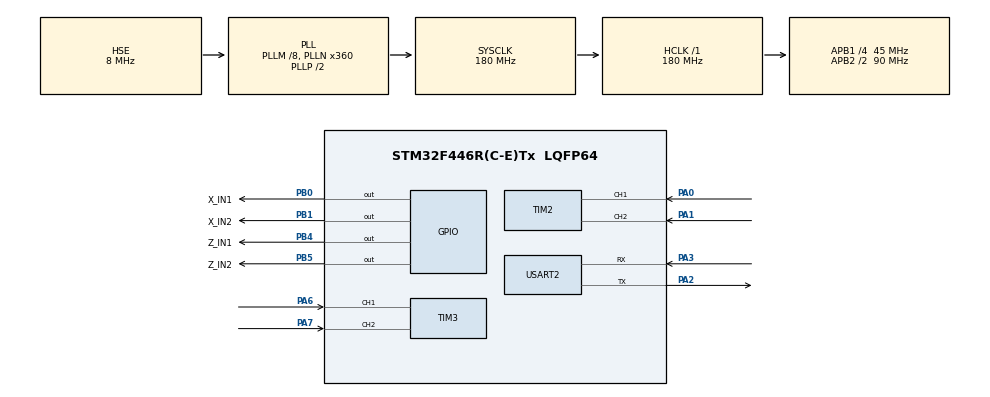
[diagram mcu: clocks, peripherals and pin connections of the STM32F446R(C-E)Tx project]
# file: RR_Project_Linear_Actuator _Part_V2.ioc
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Mcu.Family=STM32F4
Mcu.Name=STM32F446R(C-E)Tx
Mcu.Package=LQFP64
NVIC.PriorityGroup=NVIC_PRIORITYGROUP_4
NVIC.TIM6_DAC_IRQn=true\:1\:0\:true\:false\:true\:true\:true\:true
NVIC.USART2_IRQn=true\:2\:0\:true\:false\:true\:true\:true\:true
PA0-WKUP.Signal=S_TIM2_CH1_ETR
PA1.Signal=S_TIM2_CH2
PA13.Mode=Serial_Wire
PA13.Signal=SYS_JTMS-SWDIO
PA14.Mode=Serial_Wire
PA14.Signal=SYS_JTCK-SWCLK
PA2.Mode=Asynchronous
PA2.Signal=USART2_TX
PA3.Mode=Asynchronous
PA3.Signal=USART2_RX
PA6.Signal=S_TIM3_CH1
PA7.Signal=S_TIM3_CH2
PB0.GPIO_Label=X_IN1
PB0.Signal=GPIO_Output
PB1.GPIO_Label=X_IN2
PB1.Signal=GPIO_Output
PB4.GPIO_Label=Z_IN1
PB4.Signal=GPIO_Output
PB5.GPIO_Label=Z_IN2
PB5.Signal=GPIO_Output
PH0-OSC_IN.Mode=HSE-External-Oscillator
PH0-OSC_IN.Signal=RCC_OSC_IN
PH1-OSC_OUT.Mode=HSE-External-Oscillator
PH1-OSC_OUT.Signal=RCC_OSC_OUT
ProjectManager.HeapSize=0x200
ProjectManager.StackSize=0x400
ProjectManager.TargetToolchain=STM32CubeIDE
RCC.AHBFreq_Value=180000000
RCC.APB1CLKDivider=RCC_HCLK_DIV4
RCC.APB1Freq_Value=45000000
RCC.APB1TimFreq_Value=90000000
RCC.APB2CLKDivider=RCC_HCLK_DIV2
RCC.APB2Freq_Value=90000000
RCC.APB2TimFreq_Value=180000000
RCC.CortexFreq_Value=180000000
RCC.HCLKFreq_Value=180000000
RCC.HSE_VALUE=8000000
RCC.PLLM=8
RCC.PLLN=360
RCC.PLLSourceVirtual=RCC_PLLSOURCE_HSE
RCC.SYSCLKFreq_VALUE=180000000
RCC.SYSCLKSource=RCC_SYSCLKSOURCE_PLLCLK
RCC.USBFreq_Value=180000000
RCC.VCOOutputFreq_Value=360000000
SH.S_TIM2_CH1_ETR.0=TIM2_CH1,Encoder_Interface
SH.S_TIM2_CH2.0=TIM2_CH2,Encoder_Interface
SH.S_TIM3_CH1.0=TIM3_CH1,Encoder_Interface
SH.S_TIM3_CH2.0=TIM3_CH2,Encoder_Interface
TIM2.EncoderMode=TIM_ENCODERMODE_TI12
TIM2.IC1Filter=10
TIM2.IC2Filter=10
TIM3.EncoderMode=TIM_ENCODERMODE_TI12
TIM3.IC1Filter=10
TIM3.IC2Filter=10
TIM6.Period=9
TIM6.Prescaler=8999
USART2.VirtualMode=VM_ASYNC
VP_TIM6_VS_ClockSourceINT.Mode=Enable_Timer
board=custom

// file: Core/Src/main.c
/* USER CODE BEGIN Header */
/**
  ******************************************************************************
  * @file           : main.c
  * @brief          : Main program body
  ******************************************************************************
  * @attention
  *
  * Copyright (c) 2026 STMicroelectronics.
  * All rights reserved.
  *
  * This software is licensed under terms that can be found in the LICENSE file
  * in the root directory of this software component.
  * If no LICENSE file comes with this software, it is provided AS-IS.
  *
  ******************************************************************************
  */
/* USER CODE END Header */
#include "main.h"

/* USER CODE BEGIN Includes */
#include <stdio.h>
#include <stdlib.h>
#include <string.h>
#include <ctype.h>
/* USER CODE END Includes */

/* USER CODE BEGIN PTD */
typedef enum { AX_IDLE = 0, AX_HOMING, AX_MOVING, AX_SETTLE } ax_state_t;   /* order is used to index "IHMS" */
typedef enum { EV_NONE = 0, EV_DONE, EV_HOMED, EV_STALL, EV_FAULT } ax_evt_t;

typedef struct
{
  char name;                                   /* 'X' or 'Z' */
  void (*fwd)(void);                           /* ahead */
  void (*rev)(void);                           /* back toward zero */
  void (*stop)(void);
  void (*zero)(void);                          /* make the current position = 0 */
  float   counts_per_mm;
  int32_t brake_init_fwd, brake_init_rev;
  volatile int32_t brake_fwd, brake_rev;       /* adaptive, per direction */
  volatile ax_state_t state;
  volatile uint8_t flag;                       /* 0 ok, 1 overshoot warning, 2 fault */
  volatile uint8_t req_move, req_home;
  volatile int32_t req_target;                 /* counts, absolute */
  volatile int32_t pos;                        /* counts, + = ahead, 0 = home */
  int32_t target, start, stop_at, travel, last;
  int8_t  dir;
  uint8_t ran, learn, zero_valid;
  uint16_t still;
  uint32_t t_ms;
  volatile ax_evt_t evt;
  volatile uint8_t  warn_evt;
  volatile int32_t  ev_target, ev_final, ev_err, ev_brake, ev_over;
  const char * volatile ev_text;
} axis_t;
/* USER CODE END PTD */

/* USER CODE BEGIN PD */
/* ---- X axis (horizontal): TIM2 PA0/PA1, L298N IN1/IN2 on PB0/PB1 ---- */
#define X_COUNTS_PER_MM   827.5f
#define X_BRAKE_FWD       252L
#define X_BRAKE_REV       257L
#define X_MAX_MM          100.0f            /* set to the real travel (GUI has the same limit) */

/* ---- Z axis (vertical): TIM3 PA6/PA7, L298N IN3/IN4 on PB4/PB5 ---- */
#define Z_COUNTS_PER_MM   734.5f
#define Z_BRAKE_FWD       770L
#define Z_BRAKE_REV       (-25L)
#define Z_EXT_MM          6.0f              /* "Z1" position, put the real stroke here */

/* ---- common ---- */
#define STILL_TOL         2
#define STILL_MS          500               /* no counts this long while moving/homing = stalled */
#define SETTLE_MS         300
#define WRONGDIR_COUNTS   400L
#define OVERRUN_COUNTS    1600L
#define STALL_OK_COUNTS   100L              /* blocked this close to the target = arrived (end stop) */
#define HOME_TIMEOUT_MS   60000UL
#define OVER_LIMIT_MM     0.5f              /* overshoot beyond this -> WARN, please home */
#define LEARN_ENABLE      1
#define LEARN_DIV         2                 /* learn 1/2 of the measured overshoot each move */
#define BRAKE_TRIM        200L              /* learned brake stays within init +/- this */
#define PC_HB_TIMEOUT_MS  1000UL
#define STM_HB_PERIOD_MS  500
#define CMDQ_N            4
/* USER CODE END PD */

TIM_HandleTypeDef htim2;
TIM_HandleTypeDef htim3;
TIM_HandleTypeDef htim6;

UART_HandleTypeDef huart2;

/* USER CODE BEGIN PV */
static axis_t   x_ax, z_ax;
static uint16_t z_last_cnt;                        /* TIM3 is 16 bit, integrated into z_ax.pos */

static uint8_t  rx_byte, rx_len;
static char     rx_buf[32];
static char     cmd_q[CMDQ_N][32];
static volatile uint8_t  q_head, q_tail;

static volatile uint8_t  stop_req, hb_flag, hb_lost, hb_loss_evt, pc_armed;
static volatile uint16_t hb_ms;
static volatile uint32_t pc_age_ms;
static uint32_t hb_seq;
/* USER CODE END PV */

void SystemClock_Config(void);
static void MX_GPIO_Init(void);
static void MX_TIM2_Init(void);
static void MX_TIM3_Init(void);
static void MX_TIM6_Init(void);
static void MX_USART2_UART_Init(void);

/* USER CODE BEGIN 0 */
static inline int32_t iabs32(int32_t v) { return v < 0 ? -v : v; }
static inline int32_t clampi(int32_t v, int32_t lo, int32_t hi) { return v < lo ? lo : (v > hi ? hi : v); }

/* L298N: ahead = IN2 high, back = IN1 high (same as your tested code). BSRR changes both pins in one write. */
static void x_fwd(void)  { GPIOB->BSRR = X_IN2_Pin | ((uint32_t)X_IN1_Pin << 16); }
static void x_rev(void)  { GPIOB->BSRR = X_IN1_Pin | ((uint32_t)X_IN2_Pin << 16); }
static void x_stop(void) { GPIOB->BSRR = ((uint32_t)(X_IN1_Pin | X_IN2_Pin)) << 16; }
static void z_fwd(void)  { GPIOB->BSRR = Z_IN2_Pin | ((uint32_t)Z_IN1_Pin << 16); }
static void z_rev(void)  { GPIOB->BSRR = Z_IN1_Pin | ((uint32_t)Z_IN2_Pin << 16); }
static void z_stop(void) { GPIOB->BSRR = ((uint32_t)(Z_IN1_Pin | Z_IN2_Pin)) << 16; }

static void x_zero(void) { __HAL_TIM_SET_COUNTER(&htim2, 0); x_ax.pos = 0; }
static void z_zero(void) { __HAL_TIM_SET_COUNTER(&htim3, 0); z_last_cnt = 0; z_ax.pos = 0; }

static void axes_init(void)
{
  x_ax.name = 'X'; x_ax.fwd = x_fwd; x_ax.rev = x_rev; x_ax.stop = x_stop; x_ax.zero = x_zero;
  x_ax.counts_per_mm = X_COUNTS_PER_MM;
  x_ax.brake_init_fwd = x_ax.brake_fwd = X_BRAKE_FWD;
  x_ax.brake_init_rev = x_ax.brake_rev = X_BRAKE_REV;

  z_ax.name = 'Z'; z_ax.fwd = z_fwd; z_ax.rev = z_rev; z_ax.stop = z_stop; z_ax.zero = z_zero;
  z_ax.counts_per_mm = Z_COUNTS_PER_MM;
  z_ax.brake_init_fwd = z_ax.brake_fwd = Z_BRAKE_FWD;
  z_ax.brake_init_rev = z_ax.brake_rev = Z_BRAKE_REV;
}

/* position readers (called every 1 ms): both axes inverted like ENC_INVERT = 1 in the tested code */
static void x_read(void) { x_ax.pos = -(int32_t)__HAL_TIM_GET_COUNTER(&htim2); }
static void z_read(void)
{
  uint16_t c = (uint16_t)__HAL_TIM_GET_COUNTER(&htim3);
  z_ax.pos -= (int16_t)(c - z_last_cnt);          /* signed 16-bit difference is correct across wrap */
  z_last_cnt = c;
}

static long cnt2um(int32_t c, float cpm)
{
  float v = (float)c * 1000.0f / cpm;
  return (long)(v >= 0 ? v + 0.5f : v - 0.5f);
}

static void uart_puts(const char *s) { HAL_UART_Transmit(&huart2, (uint8_t *)s, (uint16_t)strlen(s), 100); }

/* ---------------- axis motion (1 kHz, called from the TIM6 interrupt) ---------------- */
static void axis_abort(axis_t *a)
{
  a->stop();
  a->state = AX_IDLE;
  a->req_move = 0;
  a->req_home = 0;
}

static void axis_fault(axis_t *a, const char *why, int32_t p)
{
  a->stop();
  a->ev_final = p;
  a->ev_text = why;
  a->evt = EV_FAULT;
  a->flag = 2;
  a->state = AX_IDLE;
}

static void axis_start_home(axis_t *a, int32_t p)
{
  a->flag = 0;
  a->start = p; a->last = p; a->still = 0; a->t_ms = 0;
  a->rev();                                        /* retract until the counts stop */
  a->state = AX_HOMING;
}

static void axis_start_move(axis_t *a, int32_t tgt, int32_t p)
{
  int32_t delta = tgt - p;
  a->dir = (delta >= 0) ? 1 : -1;
  a->start = p; a->target = tgt; a->travel = iabs32(delta);
  a->last = p; a->still = 0; a->flag = 0;
  a->learn = (a->travel >= (int32_t)a->counts_per_mm);            /* moves shorter than 1 mm use no brake offset */
  int32_t brake = a->learn ? ((a->dir > 0) ? a->brake_fwd : a->brake_rev) : 0;
  a->stop_at = (a->dir > 0) ? (tgt - brake) : (tgt + brake);     /* where the motor is switched off */
  a->ran = 0;
  if (a->travel == 0 || (a->dir > 0 ? (p >= a->stop_at) : (p <= a->stop_at))) { a->state = AX_SETTLE; return; }
  a->ran = 1;
  if (a->dir > 0) a->fwd(); else a->rev();
  a->state = AX_MOVING;
}

static void axis_tick(axis_t *a)
{
  int32_t p = a->pos;

  switch (a->state)
  {
    case AX_IDLE:
      if (a->req_home)      { a->req_home = 0; axis_start_home(a, p); }
      else if (a->req_move) { a->req_move = 0; axis_start_move(a, a->req_target, p); }
      break;

    case AX_HOMING:
      if (iabs32(p - a->last) <= STILL_TOL) a->still++; else { a->still = 0; a->last = p; }
      a->t_ms++;
      if ((a->start - p) < -WRONGDIR_COUNTS)  axis_fault(a, "WRONGDIR", p);
      else if (a->t_ms >= HOME_TIMEOUT_MS)    axis_fault(a, "HOMETIMEOUT", p);
      else if (a->still >= STILL_MS)
      {
        a->stop();
        a->ev_err = a->zero_valid ? p : 0;         /* how far the old zero was from the new one */
        a->zero();
        a->zero_valid = 1;
        a->flag = 0;
        a->evt = EV_HOMED;
        a->state = AX_IDLE;
      }
      break;

    case AX_MOVING:
    {
      uint8_t reached = (a->dir > 0) ? (p >= a->stop_at) : (p <= a->stop_at);
      int32_t progress = (p - a->start) * a->dir;
      if (reached)
      {
        a->stop();
        a->last = p; a->still = 0;
        a->state = AX_SETTLE;
      }
      else if (progress < -WRONGDIR_COUNTS)                axis_fault(a, "WRONGDIR", p);
      else if (progress > a->travel + OVERRUN_COUNTS)      axis_fault(a, "OVERRUN", p);
      else
      {
        if (iabs32(p - a->last) <= STILL_TOL) a->still++; else { a->still = 0; a->last = p; }
        if (a->still >= STILL_MS)                          /* not moving any more */
        {
          a->stop();
          if (iabs32(p - a->target) <= STALL_OK_COUNTS)    /* blocked at the target (end stop) = arrived */
          {
            a->learn = 0; a->last = p; a->still = 0;
            a->state = AX_SETTLE;
          }
          else
          {
            a->ev_final = p;
            a->evt = EV_STALL;
            a->flag = 2;
            a->state = AX_IDLE;
          }
        }
      }
      break;
    }

    case AX_SETTLE:
      if (iabs32(p - a->last) <= STILL_TOL) a->still++; else { a->still = 0; a->last = p; }
      if (a->still >= SETTLE_MS)
      {
        int32_t err  = p - a->target;
        int32_t over = err * a->dir;                       /* + = went past the target */
#if LEARN_ENABLE
        if (a->ran && a->learn)                            /* adaptive brake, separate for each direction */
        {
          if (a->dir > 0) a->brake_fwd = clampi(a->brake_fwd + over / LEARN_DIV,
                                                a->brake_init_fwd - BRAKE_TRIM, a->brake_init_fwd + BRAKE_TRIM);
          else            a->brake_rev = clampi(a->brake_rev + over / LEARN_DIV,
                                                a->brake_init_rev - BRAKE_TRIM, a->brake_init_rev + BRAKE_TRIM);
        }
#endif
        a->ev_target = a->target; a->ev_final = p; a->ev_err = err; a->ev_over = over;
        a->ev_brake = (a->dir > 0) ? a->brake_fwd : a->brake_rev;
        a->evt = EV_DONE;
        if (over > (int32_t)(OVER_LIMIT_MM * a->counts_per_mm)) { a->flag = 1; a->warn_evt = 1; }
        a->state = AX_IDLE;
      }
      break;

    default: a->state = AX_IDLE; break;
  }
}

/* ---------------- reporting (main loop only, never in an ISR) ---------------- */
static char st_char(const axis_t *a)
{
  if (a->state != AX_IDLE) return "IHMS"[a->state];
  return (a->flag == 2) ? 'E' : ((a->flag == 1) ? 'W' : 'I');
}

static void send_heartbeat(void)
{
  char m[64];
  snprintf(m, sizeof m, "HB,%lu,%c,%ld,%c,%ld\r\n", (unsigned long)hb_seq++,
           st_char(&x_ax), cnt2um(x_ax.pos, X_COUNTS_PER_MM),
           st_char(&z_ax), cnt2um(z_ax.pos, Z_COUNTS_PER_MM));
  uart_puts(m);
}

static void report_axis(axis_t *a)
{
  char m[96];
  float c = a->counts_per_mm;

  if (a->evt != EV_NONE)
  {
    ax_evt_t e = a->evt;
    int32_t t = a->ev_target, f = a->ev_final, er = a->ev_err, b = a->ev_brake;
    const char *why = a->ev_text;
    a->evt = EV_NONE;
    if (e == EV_DONE)
      snprintf(m, sizeof m, "DONE,%c,%ld,%ld,%ld,%ld\r\n", a->name, cnt2um(t, c), cnt2um(f, c), cnt2um(er, c), (long)b);
    else if (e == EV_HOMED)
      snprintf(m, sizeof m, "HOMED,%c,%ld\r\n", a->name, cnt2um(er, c));
    else if (e == EV_STALL)
      snprintf(m, sizeof m, "STALL,%c,%ld\r\n", a->name, cnt2um(f, c));
    else
      snprintf(m, sizeof m, "FAULT,%c,%s,%ld\r\n", a->name, why ? why : "?", cnt2um(f, c));
    uart_puts(m);
  }
  if (a->warn_evt)
  {
    a->warn_evt = 0;
    snprintf(m, sizeof m, "WARN,%c,OVERLIMIT,%ld,%ld,%ld\r\n", a->name,
             cnt2um(a->ev_final, c), cnt2um(a->ev_target, c), cnt2um(a->ev_over, c));
    uart_puts(m);
  }
}

static void report_events(void)
{
  report_axis(&x_ax);
  report_axis(&z_ax);
  if (hb_loss_evt)
  {
    char m[64];
    hb_loss_evt = 0;
    snprintf(m, sizeof m, "INFO,HBLOSS,%ld,%ld\r\n", cnt2um(x_ax.pos, X_COUNTS_PER_MM), cnt2um(z_ax.pos, Z_COUNTS_PER_MM));
    uart_puts(m);
  }
}

/* ---------------- command parser (main loop) ---------------- */
static uint8_t axis_busy(const axis_t *a) { return (a->state != AX_IDLE || a->req_move || a->req_home); }

static void handle_command(char *s)
{
  char m[48];
  for (char *c = s; *c; c++) *c = (char)toupper((unsigned char)*c);

  if (s[0] == 'P' && s[1] == 'C')                         /* PC,<seq> heartbeat from the GUI */
  {
    pc_age_ms = 0; pc_armed = 1; hb_lost = 0;
    return;
  }
  if (hb_lost && s[0] != 'S' && strcmp(s, "LOG?") != 0)   /* no PC heartbeat: refuse motion */
  {
    uart_puts("NAK,NOHB\r\n");
    return;
  }

  if (strcmp(s, "LOG?") == 0)                             /* flash log not implemented yet */
  {
    uart_puts("LOG,0,0,0\r\n");
  }
  else if (s[0] == 'S' && s[1] == 0)                      /* S = stop everything */
  {
    stop_req = 1;
    uart_puts("OK,STOP\r\n");
  }
  else if (s[0] == 'X')                                   /* X20.870 = absolute position in mm */
  {
    float mm = (float)atof(&s[1]);
    if (s[1] == 0)                          uart_puts("NAK,BAD_VALUE\r\n");
    else if (mm < 0.0f || mm > X_MAX_MM)    uart_puts("NAK,RANGE\r\n");
    else if (axis_busy(&x_ax))              uart_puts("NAK,BUSY\r\n");
    else
    {
      x_ax.req_target = (int32_t)(mm * X_COUNTS_PER_MM + 0.5f);
      x_ax.req_move = 1;
      snprintf(m, sizeof m, "OK,X,%ld\r\n", cnt2um(x_ax.req_target, X_COUNTS_PER_MM));
      uart_puts(m);
    }
  }
  else if (s[0] == 'Z')                                   /* Z1 = extended, Z0 = home position */
  {
    if (s[1] != '0' && s[1] != '1')         uart_puts("NAK,BAD_VALUE\r\n");
    else if (axis_busy(&z_ax))              uart_puts("NAK,BUSY\r\n");
    else
    {
      z_ax.req_target = (s[1] == '1') ? (int32_t)(Z_EXT_MM * Z_COUNTS_PER_MM + 0.5f) : 0;
      z_ax.req_move = 1;
      uart_puts((s[1] == '1') ? "OK,Z,1\r\n" : "OK,Z,0\r\n");
    }
  }
  else if (s[0] == 'H' && (s[1] == 'X' || s[1] == 'Z'))   /* HX / HZ = home that axis */
  {
    axis_t *a = (s[1] == 'X') ? &x_ax : &z_ax;
    if (axis_busy(a))                       uart_puts("NAK,BUSY\r\n");
    else
    {
      a->req_home = 1;
      snprintf(m, sizeof m, "OK,H%c\r\n", s[1]);
      uart_puts(m);
    }
  }
  else uart_puts("NAK,BAD_CMD\r\n");
}
/* USER CODE END 0 */

int main(void)
{

  /* MCU Configuration--------------------------------------------------------*/

  /* Reset of all peripherals, Initializes the Flash interface and the Systick. */
  HAL_Init();

  /* Configure the system clock */
  SystemClock_Config();

  /* Initialize all configured peripherals */
  MX_GPIO_Init();
  MX_TIM2_Init();
  MX_TIM3_Init();
  MX_TIM6_Init();
  MX_USART2_UART_Init();
  /* USER CODE BEGIN 2 */
  axes_init();
  x_stop(); z_stop();                                   /* motors off first */
  HAL_TIM_Encoder_Start(&htim2, TIM_CHANNEL_ALL);
  HAL_TIM_Encoder_Start(&htim3, TIM_CHANNEL_ALL);
  __HAL_TIM_SET_COUNTER(&htim2, 0);
  __HAL_TIM_SET_COUNTER(&htim3, 0);
  z_last_cnt = 0;
  HAL_UART_Receive_IT(&huart2, &rx_byte, 1);
  HAL_TIM_Base_Start_IT(&htim6);                        /* 1 kHz tick last, after all state is initialised */
  uart_puts("HELLO,STAGE,2\r\n");
  /* USER CODE END 2 */

  /* Infinite loop */
  while (1)
  {

    /* USER CODE BEGIN 3 */
	    if (hb_flag) { hb_flag = 0; send_heartbeat(); }
	    report_events();
	    if (q_tail != q_head)
	    {
	      char line[32];
	      strcpy(line, cmd_q[q_tail]);
	      q_tail = (uint8_t)((q_tail + 1) % CMDQ_N);
	      handle_command(line);
	    }
  }
  /* USER CODE END 3 */
}

void SystemClock_Config(void)
{
  RCC_OscInitTypeDef RCC_OscInitStruct = {0};
  RCC_ClkInitTypeDef RCC_ClkInitStruct = {0};

  /** Configure the main internal regulator output voltage
  */
  __HAL_RCC_PWR_CLK_ENABLE();
  __HAL_PWR_VOLTAGESCALING_CONFIG(PWR_REGULATOR_VOLTAGE_SCALE1);

  /** Initializes the RCC Oscillators according to the specified parameters
  * in the RCC_OscInitTypeDef structure.
  */
  RCC_OscInitStruct.OscillatorType = RCC_OSCILLATORTYPE_HSE;
  RCC_OscInitStruct.HSEState = RCC_HSE_ON;
  RCC_OscInitStruct.PLL.PLLState = RCC_PLL_ON;
  RCC_OscInitStruct.PLL.PLLSource = RCC_PLLSOURCE_HSE;
  RCC_OscInitStruct.PLL.PLLM = 8;
  RCC_OscInitStruct.PLL.PLLN = 360;
  RCC_OscInitStruct.PLL.PLLP = RCC_PLLP_DIV2;
  RCC_OscInitStruct.PLL.PLLQ = 2;
  RCC_OscInitStruct.PLL.PLLR = 2;
  if (HAL_RCC_OscConfig(&RCC_OscInitStruct) != HAL_OK)
  {
    Error_Handler();
  }

  /** Activate the Over-Drive mode
  */
  if (HAL_PWREx_EnableOverDrive() != HAL_OK)
  {
    Error_Handler();
  }

  /** Initializes the CPU, AHB and APB buses clocks
  */
  RCC_ClkInitStruct.ClockType = RCC_CLOCKTYPE_HCLK|RCC_CLOCKTYPE_SYSCLK
                              |RCC_CLOCKTYPE_PCLK1|RCC_CLOCKTYPE_PCLK2;
  RCC_ClkInitStruct.SYSCLKSource = RCC_SYSCLKSOURCE_PLLCLK;
  RCC_ClkInitStruct.AHBCLKDivider = RCC_SYSCLK_DIV1;
  RCC_ClkInitStruct.APB1CLKDivider = RCC_HCLK_DIV4;
  RCC_ClkInitStruct.APB2CLKDivider = RCC_HCLK_DIV2;

  if (HAL_RCC_ClockConfig(&RCC_ClkInitStruct, FLASH_LATENCY_5) != HAL_OK)
  {
    Error_Handler();
  }
}

static void MX_TIM2_Init(void)
{

  TIM_Encoder_InitTypeDef sConfig = {0};
  TIM_MasterConfigTypeDef sMasterConfig = {0};

  htim2.Instance = TIM2;
  htim2.Init.Prescaler = 0;
  htim2.Init.CounterMode = TIM_COUNTERMODE_UP;
  htim2.Init.Period = 4294967295;
  htim2.Init.ClockDivision = TIM_CLOCKDIVISION_DIV1;
  htim2.Init.AutoReloadPreload = TIM_AUTORELOAD_PRELOAD_DISABLE;
  sConfig.EncoderMode = TIM_ENCODERMODE_TI12;
  sConfig.IC1Polarity = TIM_ICPOLARITY_RISING;
  sConfig.IC1Selection = TIM_ICSELECTION_DIRECTTI;
  sConfig.IC1Prescaler = TIM_ICPSC_DIV1;
  sConfig.IC1Filter = 10;
  sConfig.IC2Polarity = TIM_ICPOLARITY_RISING;
  sConfig.IC2Selection = TIM_ICSELECTION_DIRECTTI;
  sConfig.IC2Prescaler = TIM_ICPSC_DIV1;
  sConfig.IC2Filter = 10;
  if (HAL_TIM_Encoder_Init(&htim2, &sConfig) != HAL_OK)
  {
    Error_Handler();
  }
  sMasterConfig.MasterOutputTrigger = TIM_TRGO_RESET;
  sMasterConfig.MasterSlaveMode = TIM_MASTERSLAVEMODE_DISABLE;
  if (HAL_TIMEx_MasterConfigSynchronization(&htim2, &sMasterConfig) != HAL_OK)
  {
    Error_Handler();
  }

}

static void MX_TIM3_Init(void)
{

  TIM_Encoder_InitTypeDef sConfig = {0};
  TIM_MasterConfigTypeDef sMasterConfig = {0};

  htim3.Instance = TIM3;
  htim3.Init.Prescaler = 0;
  htim3.Init.CounterMode = TIM_COUNTERMODE_UP;
  htim3.Init.Period = 65535;
  htim3.Init.ClockDivision = TIM_CLOCKDIVISION_DIV1;
  htim3.Init.AutoReloadPreload = TIM_AUTORELOAD_PRELOAD_DISABLE;
  sConfig.EncoderMode = TIM_ENCODERMODE_TI12;
  sConfig.IC1Polarity = TIM_ICPOLARITY_RISING;
  sConfig.IC1Selection = TIM_ICSELECTION_DIRECTTI;
  sConfig.IC1Prescaler = TIM_ICPSC_DIV1;
  sConfig.IC1Filter = 10;
  sConfig.IC2Polarity = TIM_ICPOLARITY_RISING;
  sConfig.IC2Selection = TIM_ICSELECTION_DIRECTTI;
  sConfig.IC2Prescaler = TIM_ICPSC_DIV1;
  sConfig.IC2Filter = 10;
  if (HAL_TIM_Encoder_Init(&htim3, &sConfig) != HAL_OK)
  {
    Error_Handler();
  }
  sMasterConfig.MasterOutputTrigger = TIM_TRGO_RESET;
  sMasterConfig.MasterSlaveMode = TIM_MASTERSLAVEMODE_DISABLE;
  if (HAL_TIMEx_MasterConfigSynchronization(&htim3, &sMasterConfig) != HAL_OK)
  {
    Error_Handler();
  }

}

static void MX_TIM6_Init(void)
{

  TIM_MasterConfigTypeDef sMasterConfig = {0};

  htim6.Instance = TIM6;
  htim6.Init.Prescaler = 8999;
  htim6.Init.CounterMode = TIM_COUNTERMODE_UP;
  htim6.Init.Period = 9;
  htim6.Init.AutoReloadPreload = TIM_AUTORELOAD_PRELOAD_DISABLE;
  if (HAL_TIM_Base_Init(&htim6) != HAL_OK)
  {
    Error_Handler();
  }
  sMasterConfig.MasterOutputTrigger = TIM_TRGO_RESET;
  sMasterConfig.MasterSlaveMode = TIM_MASTERSLAVEMODE_DISABLE;
  if (HAL_TIMEx_MasterConfigSynchronization(&htim6, &sMasterConfig) != HAL_OK)
  {
    Error_Handler();
  }

}

static void MX_USART2_UART_Init(void)
{

  huart2.Instance = USART2;
  huart2.Init.BaudRate = 115200;
  huart2.Init.WordLength = UART_WORDLENGTH_8B;
  huart2.Init.StopBits = UART_STOPBITS_1;
  huart2.Init.Parity = UART_PARITY_NONE;
  huart2.Init.Mode = UART_MODE_TX_RX;
  huart2.Init.HwFlowCtl = UART_HWCONTROL_NONE;
  huart2.Init.OverSampling = UART_OVERSAMPLING_16;
  if (HAL_UART_Init(&huart2) != HAL_OK)
  {
    Error_Handler();
  }

}

static void MX_GPIO_Init(void)
{
  GPIO_InitTypeDef GPIO_InitStruct = {0};

  /* GPIO Ports Clock Enable */
  __HAL_RCC_GPIOH_CLK_ENABLE();
  __HAL_RCC_GPIOA_CLK_ENABLE();
  __HAL_RCC_GPIOB_CLK_ENABLE();

  /*Configure GPIO pin Output Level */
  HAL_GPIO_WritePin(GPIOB, X_IN1_Pin|X_IN2_Pin|Z_IN1_Pin|Z_IN2_Pin, GPIO_PIN_RESET);

  /*Configure GPIO pins : X_IN1_Pin X_IN2_Pin Z_IN1_Pin Z_IN2_Pin */
  GPIO_InitStruct.Pin = X_IN1_Pin|X_IN2_Pin|Z_IN1_Pin|Z_IN2_Pin;
  GPIO_InitStruct.Mode = GPIO_MODE_OUTPUT_PP;
  GPIO_InitStruct.Pull = GPIO_NOPULL;
  GPIO_InitStruct.Speed = GPIO_SPEED_FREQ_LOW;
  HAL_GPIO_Init(GPIOB, &GPIO_InitStruct);

}

/* USER CODE BEGIN 4 */
void HAL_TIM_PeriodElapsedCallback(TIM_HandleTypeDef *htim)      /* TIM6 = 1 kHz */
{
  if (htim->Instance != TIM6) return;

  if (pc_armed && !hb_lost && ++pc_age_ms >= PC_HB_TIMEOUT_MS)   /* PC heartbeat lost */
  {
    hb_lost = 1;
    hb_loss_evt = 1;
    axis_abort(&x_ax); axis_abort(&z_ax);
    x_ax.flag = 2; z_ax.flag = 2;
    /* future: x_ax.pos and z_ax.pos are the positions to store in flash here */
  }
  if (stop_req)
  {
    stop_req = 0;
    axis_abort(&x_ax); axis_abort(&z_ax);
  }

  x_read(); z_read();
  axis_tick(&x_ax);
  axis_tick(&z_ax);
  if (++hb_ms >= STM_HB_PERIOD_MS) { hb_ms = 0; hb_flag = 1; }
}

void HAL_UART_RxCpltCallback(UART_HandleTypeDef *huart)
{
  if (huart->Instance == USART2)
  {
    char ch = (char)rx_byte;
    if (ch == '\r' || ch == '\n')
    {
      if (rx_len > 0 && rx_len != 0xFF)
      {
        uint8_t nh = (uint8_t)((q_head + 1) % CMDQ_N);
        if (nh != q_tail)                                /* queue not full */
        {
          rx_buf[rx_len] = 0;
          strcpy(cmd_q[q_head], rx_buf);
          q_head = nh;
        }
      }
      rx_len = 0;
    }
    else if (rx_len < sizeof(rx_buf) - 1) rx_buf[rx_len++] = ch;
    else rx_len = 0xFF;                                  /* line too long: drop it completely */
    HAL_UART_Receive_IT(&huart2, &rx_byte, 1);
  }
}

void HAL_UART_ErrorCallback(UART_HandleTypeDef *huart)
{
  if (huart->Instance == USART2) HAL_UART_Receive_IT(&huart2, &rx_byte, 1);
}
/* USER CODE END 4 */

void Error_Handler(void)
{
  /* USER CODE BEGIN Error_Handler_Debug */
  /* User can add his own implementation to report the HAL error return state */
  __disable_irq();
  x_stop(); z_stop();
  while (1)
  {
  }
  /* USER CODE END Error_Handler_Debug */
}
